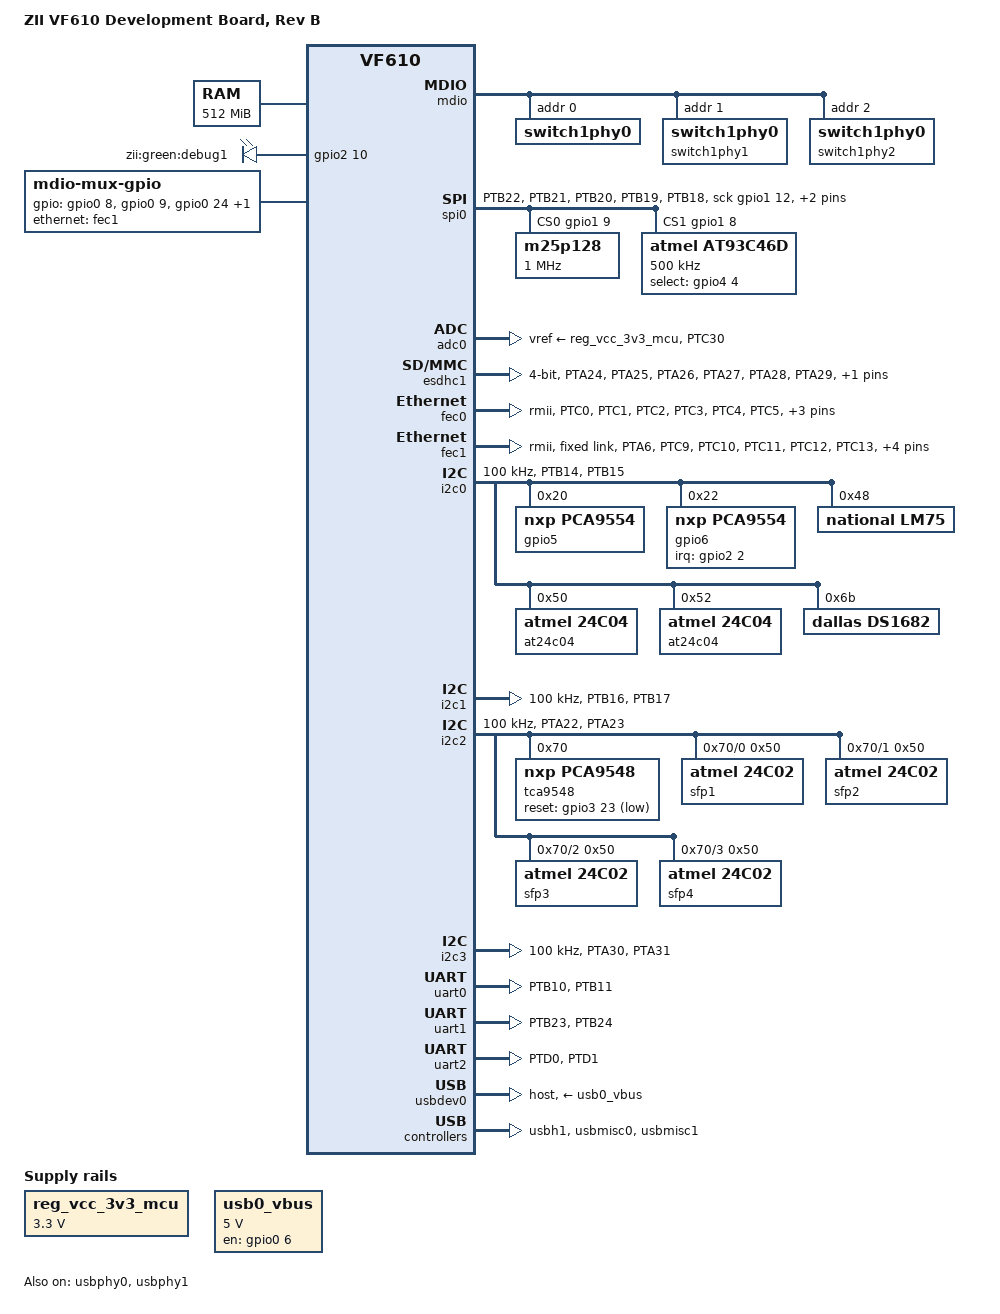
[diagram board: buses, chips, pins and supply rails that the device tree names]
/*
 * Copyright (C) 2015, 2016 Zodiac Inflight Innovations
 *
 * Based on an original 'vf610-twr.dts' which is Copyright 2015,
 * Freescale Semiconductor, Inc.
 *
 * This file is dual-licensed: you can use it either under the terms
 * of the GPL or the X11 license, at your option. Note that this dual
 * licensing only applies to this file, and not this project as a
 * whole.
 *
 *  a) This file is free software; you can redistribute it and/or
 *     modify it under the terms of the GNU General Public License
 *     version 2 as published by the Free Software Foundation.
 *
 *     This file is distributed in the hope that it will be useful
 *     but WITHOUT ANY WARRANTY; without even the implied warranty of
 *     MERCHANTABILITY or FITNESS FOR A PARTICULAR PURPOSE.  See the
 *     GNU General Public License for more details.
 *
 * Or, alternatively
 *
 *  b) Permission is hereby granted, free of charge, to any person
 *     obtaining a copy of this software and associated documentation
 *     files (the "Software"), to deal in the Software without
 *     restriction, including without limitation the rights to use
 *     copy, modify, merge, publish, distribute, sublicense, and/or
 *     sell copies of the Software, and to permit persons to whom the
 *     Software is furnished to do so, subject to the following
 *     conditions:
 *
 *     The above copyright notice and this permission notice shall be
 *     included in all copies or substantial portions of the Software.
 *
 *     THE SOFTWARE IS PROVIDED , WITHOUT WARRANTY OF ANY KIND
 *     EXPRESS OR IMPLIED, INCLUDING BUT NOT LIMITED TO THE WARRANTIES
 *     OF MERCHANTABILITY, FITNESS FOR A PARTICULAR PURPOSE AND
 *     NONINFRINGEMENT. IN NO EVENT SHALL THE AUTHORS OR COPYRIGHT
 *     HOLDERS BE LIABLE FOR ANY CLAIM, DAMAGES OR OTHER LIABILITY
 *     WHETHER IN AN ACTION OF CONTRACT, TORT OR OTHERWISE, ARISING
 *     FROM, OUT OF OR IN CONNECTION WITH THE SOFTWARE OR THE USE OR
 *     OTHER DEALINGS IN THE SOFTWARE.
 */

/dts-v1/;
#include "vf610.dtsi"

/ {
	model = "ZII VF610 Development Board, Rev B";
	compatible = "zii,vf610dev-b", "zii,vf610dev", "fsl,vf610";

	chosen {
		stdout-path = "serial0:115200n8";
	};

	memory {
		reg = <0x80000000 0x20000000>;
	};

	gpio-leds {
		compatible = "gpio-leds";
		pinctrl-0 = <&pinctrl_leds_debug>;
		pinctrl-names = "default";

		debug {
			label = "zii:green:debug1";
			gpios = <&gpio2 10 GPIO_ACTIVE_HIGH>;
			linux,default-trigger = "heartbeat";
		};
	};

	mdio-mux {
		compatible = "mdio-mux-gpio";
		pinctrl-0 = <&pinctrl_mdio_mux>;
		pinctrl-names = "default";
		gpios = <&gpio0 8  GPIO_ACTIVE_HIGH
			 &gpio0 9  GPIO_ACTIVE_HIGH
			 &gpio0 24 GPIO_ACTIVE_HIGH
			 &gpio0 25 GPIO_ACTIVE_HIGH>;
		mdio-parent-bus = <&mdio1>;
		#address-cells = <1>;
		#size-cells = <0>;

		mdio_mux_1: mdio@1 {
			reg = <1>;
			#address-cells = <1>;
			#size-cells = <0>;

			switch0: switch0@0 {
				compatible = "marvell,mv88e6085";
				#address-cells = <1>;
				#size-cells = <0>;
				reg = <0>;
				dsa,member = <0 0>;

				ports {
					#address-cells = <1>;
					#size-cells = <0>;
					port@0 {
						reg = <0>;
						label = "lan0";
					};

					port@1 {
						reg = <1>;
						label = "lan1";
					};

					port@2 {
						reg = <2>;
						label = "lan2";
					};

					switch0port5: port@5 {
						reg = <5>;
						label = "dsa";
						phy-mode = "rgmii-txid";
						link = <&switch1port6
							&switch2port9>;
						fixed-link {
							speed = <1000>;
							full-duplex;
						};
					};

					port@6 {
						reg = <6>;
						label = "cpu";
						ethernet = <&fec1>;
						fixed-link {
							speed = <100>;
							full-duplex;
						};
					};
				};
			};
		};

		mdio_mux_2: mdio@2 {
			reg = <2>;
			#address-cells = <1>;
			#size-cells = <0>;

			switch1: switch1@0 {
				compatible = "marvell,mv88e6085";
				#address-cells = <1>;
				#size-cells = <0>;
				reg = <0>;
				dsa,member = <0 1>;

				ports {
					#address-cells = <1>;
					#size-cells = <0>;
					port@0 {
						reg = <0>;
						label = "lan3";
						phy-handle = <&switch1phy0>;
					};

					port@1 {
						reg = <1>;
						label = "lan4";
						phy-handle = <&switch1phy1>;
					};

					port@2 {
						reg = <2>;
						label = "lan5";
						phy-handle = <&switch1phy2>;
					};

					switch1port5: port@5 {
						reg = <5>;
						label = "dsa";
						link = <&switch2port9>;
						phy-mode = "rgmii-txid";
						fixed-link {
							speed = <1000>;
							full-duplex;
						};
					};

					switch1port6: port@6 {
						reg = <6>;
						label = "dsa";
						phy-mode = "rgmii-txid";
						link = <&switch0port5>;
						fixed-link {
							speed = <1000>;
							full-duplex;
						};
					};
				};
				mdio {
					#address-cells = <1>;
					#size-cells = <0>;
					switch1phy0: switch1phy0@0 {
						reg = <0>;
					};
					switch1phy1: switch1phy0@1 {
						reg = <1>;
					};
					switch1phy2: switch1phy0@2 {
						reg = <2>;
					};
				};
			};
		};

		mdio_mux_4: mdio@4 {
			#address-cells = <1>;
			#size-cells = <0>;
			reg = <4>;

			switch2: switch2@0 {
				compatible = "marvell,mv88e6085";
				#address-cells = <1>;
				#size-cells = <0>;
				reg = <0>;
				dsa,member = <0 2>;

				ports {
					#address-cells = <1>;
					#size-cells = <0>;
					port@0 {
						reg = <0>;
						label = "lan6";
					};

					port@1 {
						reg = <1>;
						label = "lan7";
					};

					port@2 {
						reg = <2>;
						label = "lan8";
					};

					port@3 {
						reg = <3>;
						label = "optical3";
						fixed-link {
							speed = <1000>;
							full-duplex;
							link-gpios = <&gpio6 2
							      GPIO_ACTIVE_HIGH>;
						};
					};

					port@4 {
						reg = <4>;
						label = "optical4";
						fixed-link {
							speed = <1000>;
							full-duplex;
							link-gpios = <&gpio6 3
							      GPIO_ACTIVE_HIGH>;
						};
					};

					switch2port9: port@9 {
						reg = <9>;
						label = "dsa";
						phy-mode = "rgmii-txid";
						link = <&switch1port5
							&switch0port5>;
						fixed-link {
							speed = <1000>;
							full-duplex;
						};
					};
				};
			};
		};

		mdio_mux_8: mdio@8 {
			reg = <8>;
			#address-cells = <1>;
			#size-cells = <0>;
		};
	};

	reg_vcc_3v3_mcu: regulator-vcc-3v3-mcu {
		compatible = "regulator-fixed";
		regulator-name = "vcc_3v3_mcu";
		regulator-min-microvolt = <3300000>;
		regulator-max-microvolt = <3300000>;
	};

	usb0_vbus: regulator-usb0-vbus {
		compatible = "regulator-fixed";
		pinctrl-0 = <&pinctrl_usb_vbus>;
		regulator-name = "usb_vbus";
		regulator-min-microvolt = <5000000>;
		regulator-max-microvolt = <5000000>;
		enable-active-high;
		regulator-always-on;
		regulator-boot-on;
		gpio = <&gpio0 6 0>;
	};

	spi0 {
		compatible = "spi-gpio";
		pinctrl-0 = <&pinctrl_gpio_spi0>;
		pinctrl-names = "default";
		#address-cells = <1>;
		#size-cells = <0>;
		gpio-sck  = <&gpio1 12 GPIO_ACTIVE_HIGH>;
		gpio-mosi = <&gpio1 11 GPIO_ACTIVE_HIGH>;
		gpio-miso = <&gpio1 10 GPIO_ACTIVE_HIGH>;
		cs-gpios  = <&gpio1  9 GPIO_ACTIVE_HIGH
			     &gpio1  8 GPIO_ACTIVE_HIGH>;
		num-chipselects = <2>;

		m25p128@0 {
			compatible = "m25p128", "jedec,spi-nor";
			#address-cells = <1>;
			#size-cells = <1>;
			reg = <0>;
			spi-max-frequency = <1000000>;
		};

		at93c46d@1 {
			compatible = "atmel,at93c46d";
			pinctrl-0 = <&pinctrl_gpio_e6185_eeprom_sel>;
			pinctrl-names = "default";
			#address-cells = <0>;
			#size-cells = <0>;
			reg = <1>;
			spi-max-frequency = <500000>;
			spi-cs-high;
			data-size = <16>;
			select-gpios = <&gpio4 4 GPIO_ACTIVE_HIGH>;
		};
	};
};

&adc0 {
	pinctrl-names = "default";
	pinctrl-0 = <&pinctrl_adc0_ad5>;
	vref-supply = <&reg_vcc_3v3_mcu>;
	status = "okay";
};

&edma0 {
	status = "okay";
};

&esdhc1 {
	pinctrl-names = "default";
	pinctrl-0 = <&pinctrl_esdhc1>;
	bus-width = <4>;
	status = "okay";
};

&fec0 {
	phy-mode = "rmii";
	pinctrl-names = "default";
	pinctrl-0 = <&pinctrl_fec0>;
	status = "okay";
};

&fec1 {
	phy-mode = "rmii";
	pinctrl-names = "default";
	pinctrl-0 = <&pinctrl_fec1>;
	status = "okay";

	fixed-link {
		   speed = <100>;
		   full-duplex;
	};

	mdio1: mdio {
		#address-cells = <1>;
		#size-cells = <0>;
		status = "okay";
	};
};

&i2c0 {
	clock-frequency = <100000>;
	pinctrl-names = "default";
	pinctrl-0 = <&pinctrl_i2c0>;
	status = "okay";

	gpio5: pca9554@20 {
		compatible = "nxp,pca9554";
		reg = <0x20>;
		gpio-controller;
		#gpio-cells = <2>;

	};

	gpio6: pca9554@22 {
		compatible = "nxp,pca9554";
		pinctrl-names = "default";
		pinctrl-0 = <&pinctrl_pca9554_22>;
		reg = <0x22>;
		gpio-controller;
		#gpio-cells = <2>;
		interrupt-parent = <&gpio2>;
		interrupts = <2 IRQ_TYPE_LEVEL_LOW>;
	};

	lm75@48 {
		compatible = "national,lm75";
		reg = <0x48>;
	};

	at24c04@50 {
		compatible = "atmel,24c04";
		reg = <0x50>;
	};

	at24c04@52 {
		compatible = "atmel,24c04";
		reg = <0x52>;
	};

	ds1682@6b {
		compatible = "dallas,ds1682";
		reg = <0x6b>;
	};
};

&i2c1 {
	clock-frequency = <100000>;
	pinctrl-names = "default";
	pinctrl-0 = <&pinctrl_i2c1>;
	status = "okay";
};

&i2c2 {
	clock-frequency = <100000>;
	pinctrl-names = "default";
	pinctrl-0 = <&pinctrl_i2c2>;
	status = "okay";

	tca9548@70 {
		compatible = "nxp,pca9548";
		pinctrl-0 = <&pinctrl_i2c_mux_reset>;
		pinctrl-names = "default";
		#address-cells = <1>;
		#size-cells = <0>;
		reg = <0x70>;
		reset-gpios = <&gpio3 23 GPIO_ACTIVE_LOW>;

		i2c@0 {
			#address-cells = <1>;
			#size-cells = <0>;
			reg = <0>;

			sfp1: at24c04@50 {
				compatible = "atmel,24c02";
				reg = <0x50>;
			};
		};

		i2c@1 {
			#address-cells = <1>;
			#size-cells = <0>;
			reg = <1>;

			sfp2: at24c04@50 {
				compatible = "atmel,24c02";
				reg = <0x50>;
			};
		};

		i2c@2 {
			#address-cells = <1>;
			#size-cells = <0>;
			reg = <2>;

			sfp3: at24c04@50 {
				compatible = "atmel,24c02";
				reg = <0x50>;
			};
		};

		i2c@3 {
			#address-cells = <1>;
			#size-cells = <0>;
			reg = <3>;

			sfp4: at24c04@50 {
				compatible = "atmel,24c02";
				reg = <0x50>;
			};
		};

		i2c@4 {
			#address-cells = <1>;
			#size-cells = <0>;
			reg = <4>;
		};
	};
};

&i2c3 {
	clock-frequency = <100000>;
	pinctrl-names = "default";
	pinctrl-0 = <&pinctrl_i2c3>;
	status = "okay";
};

&uart0 {
	pinctrl-names = "default";
	pinctrl-0 = <&pinctrl_uart0>;
	status = "okay";
};

&uart1 {
	pinctrl-names = "default";
	pinctrl-0 = <&pinctrl_uart1>;
	status = "okay";
};

&uart2 {
	pinctrl-names = "default";
	pinctrl-0 = <&pinctrl_uart2>;
	status = "okay";
};

&usbdev0 {
	disable-over-current;
	vbus-supply = <&usb0_vbus>;
	dr_mode = "host";
	status = "okay";
};

&usbh1 {
	disable-over-current;
	status = "okay";
};

&usbmisc0 {
	status = "okay";
};

&usbmisc1 {
	status = "okay";
};

&usbphy0 {
	status = "okay";
};

&usbphy1 {
	status = "okay";
};

&iomuxc {
	pinctrl_adc0_ad5: adc0ad5grp {
		fsl,pins = <
			VF610_PAD_PTC30__ADC0_SE5	0x00a1
		>;
	};

	pinctrl_dspi0: dspi0grp {
		fsl,pins = <
			VF610_PAD_PTB18__DSPI0_CS1	0x1182
			VF610_PAD_PTB19__DSPI0_CS0	0x1182
			VF610_PAD_PTB20__DSPI0_SIN	0x1181
			VF610_PAD_PTB21__DSPI0_SOUT	0x1182
			VF610_PAD_PTB22__DSPI0_SCK	0x1182
		>;
	};

	pinctrl_dspi2: dspi2grp {
		fsl,pins = <
			VF610_PAD_PTD31__DSPI2_CS1	0x1182
			VF610_PAD_PTD30__DSPI2_CS0	0x1182
			VF610_PAD_PTD29__DSPI2_SIN	0x1181
			VF610_PAD_PTD28__DSPI2_SOUT	0x1182
			VF610_PAD_PTD27__DSPI2_SCK	0x1182
		>;
	};

	pinctrl_esdhc1: esdhc1grp {
		fsl,pins = <
			VF610_PAD_PTA24__ESDHC1_CLK	0x31ef
			VF610_PAD_PTA25__ESDHC1_CMD	0x31ef
			VF610_PAD_PTA26__ESDHC1_DAT0	0x31ef
			VF610_PAD_PTA27__ESDHC1_DAT1	0x31ef
			VF610_PAD_PTA28__ESDHC1_DATA2	0x31ef
			VF610_PAD_PTA29__ESDHC1_DAT3	0x31ef
			VF610_PAD_PTA7__GPIO_134	0x219d
		>;
	};

	pinctrl_fec0: fec0grp {
		fsl,pins = <
			VF610_PAD_PTC0__ENET_RMII0_MDC	0x30d2
			VF610_PAD_PTC1__ENET_RMII0_MDIO	0x30d3
			VF610_PAD_PTC2__ENET_RMII0_CRS	0x30d1
			VF610_PAD_PTC3__ENET_RMII0_RXD1	0x30d1
			VF610_PAD_PTC4__ENET_RMII0_RXD0	0x30d1
			VF610_PAD_PTC5__ENET_RMII0_RXER	0x30d1
			VF610_PAD_PTC6__ENET_RMII0_TXD1	0x30d2
			VF610_PAD_PTC7__ENET_RMII0_TXD0	0x30d2
			VF610_PAD_PTC8__ENET_RMII0_TXEN	0x30d2
		>;
	};

	pinctrl_fec1: fec1grp {
		fsl,pins = <
			VF610_PAD_PTA6__RMII_CLKIN		0x30d1
			VF610_PAD_PTC9__ENET_RMII1_MDC		0x30d2
			VF610_PAD_PTC10__ENET_RMII1_MDIO	0x30d3
			VF610_PAD_PTC11__ENET_RMII1_CRS		0x30d1
			VF610_PAD_PTC12__ENET_RMII1_RXD1	0x30d1
			VF610_PAD_PTC13__ENET_RMII1_RXD0	0x30d1
			VF610_PAD_PTC14__ENET_RMII1_RXER	0x30d1
			VF610_PAD_PTC15__ENET_RMII1_TXD1	0x30d2
			VF610_PAD_PTC16__ENET_RMII1_TXD0	0x30d2
			VF610_PAD_PTC17__ENET_RMII1_TXEN	0x30d2
		>;
	};

	pinctrl_gpio_e6185_eeprom_sel: pinctrl-gpio-e6185-eeprom-spi0 {
		fsl,pins = <
			VF610_PAD_PTE27__GPIO_132	0x33e2
		>;
	};

	pinctrl_gpio_spi0: pinctrl-gpio-spi0 {
		fsl,pins = <
			VF610_PAD_PTB22__GPIO_44	0x33e2
			VF610_PAD_PTB21__GPIO_43	0x33e2
			VF610_PAD_PTB20__GPIO_42	0x33e1
			VF610_PAD_PTB19__GPIO_41	0x33e2
			VF610_PAD_PTB18__GPIO_40	0x33e2
		>;
	};

	pinctrl_i2c_mux_reset: pinctrl-i2c-mux-reset {
		fsl,pins = <
			 VF610_PAD_PTE14__GPIO_119	0x31c2
			 >;
	};

	pinctrl_i2c0: i2c0grp {
		fsl,pins = <
			VF610_PAD_PTB14__I2C0_SCL	0x37ff
			VF610_PAD_PTB15__I2C0_SDA	0x37ff
		>;
	};

	pinctrl_i2c1: i2c1grp {
		fsl,pins = <
			VF610_PAD_PTB16__I2C1_SCL	0x37ff
			VF610_PAD_PTB17__I2C1_SDA	0x37ff
		>;
	};

	pinctrl_i2c2: i2c2grp {
		fsl,pins = <
			VF610_PAD_PTA22__I2C2_SCL	0x37ff
			VF610_PAD_PTA23__I2C2_SDA	0x37ff
		>;
	};

	pinctrl_i2c3: i2c3grp {
		fsl,pins = <
			VF610_PAD_PTA30__I2C3_SCL	0x37ff
			VF610_PAD_PTA31__I2C3_SDA	0x37ff
		>;
	};

	pinctrl_leds_debug: pinctrl-leds-debug {
		fsl,pins = <
			 VF610_PAD_PTD20__GPIO_74	0x31c2
			 >;
	};

	pinctrl_mdio_mux: pinctrl-mdio-mux {
		fsl,pins = <
			VF610_PAD_PTA18__GPIO_8		0x31c2
			VF610_PAD_PTA19__GPIO_9		0x31c2
			VF610_PAD_PTB2__GPIO_24		0x31c2
			VF610_PAD_PTB3__GPIO_25		0x31c2
		>;
	};

	pinctrl_pca9554_22: pinctrl-pca95540-22 {
		fsl,pins = <
			VF610_PAD_PTB28__GPIO_98	0x219d
		>;
	};

	pinctrl_pwm0: pwm0grp {
		fsl,pins = <
			VF610_PAD_PTB0__FTM0_CH0	0x1582
			VF610_PAD_PTB1__FTM0_CH1	0x1582
			VF610_PAD_PTB2__FTM0_CH2	0x1582
			VF610_PAD_PTB3__FTM0_CH3	0x1582
		>;
	};

	pinctrl_qspi0: qspi0grp {
		fsl,pins = <
			VF610_PAD_PTD7__QSPI0_B_QSCK	0x31c3
			VF610_PAD_PTD8__QSPI0_B_CS0	0x31ff
			VF610_PAD_PTD9__QSPI0_B_DATA3	0x31c3
			VF610_PAD_PTD10__QSPI0_B_DATA2	0x31c3
			VF610_PAD_PTD11__QSPI0_B_DATA1	0x31c3
			VF610_PAD_PTD12__QSPI0_B_DATA0	0x31c3
		>;
	};

	pinctrl_uart0: uart0grp {
		fsl,pins = <
			VF610_PAD_PTB10__UART0_TX	0x21a2
			VF610_PAD_PTB11__UART0_RX	0x21a1
		>;
	};

	pinctrl_uart1: uart1grp {
		fsl,pins = <
			VF610_PAD_PTB23__UART1_TX	0x21a2
			VF610_PAD_PTB24__UART1_RX	0x21a1
		>;
	};

	pinctrl_uart2: uart2grp {
		fsl,pins = <
			VF610_PAD_PTD0__UART2_TX	0x21a2
			VF610_PAD_PTD1__UART2_RX	0x21a1
		>;
	};

	pinctrl_usb_vbus: pinctrl-usb-vbus {
		fsl,pins = <
			VF610_PAD_PTA16__GPIO_6	0x31c2
		>;
	};

	pinctrl_usb0_host: usb0-host-grp {
		fsl,pins = <
			VF610_PAD_PTD6__GPIO_85		0x0062
		>;
	};
};
